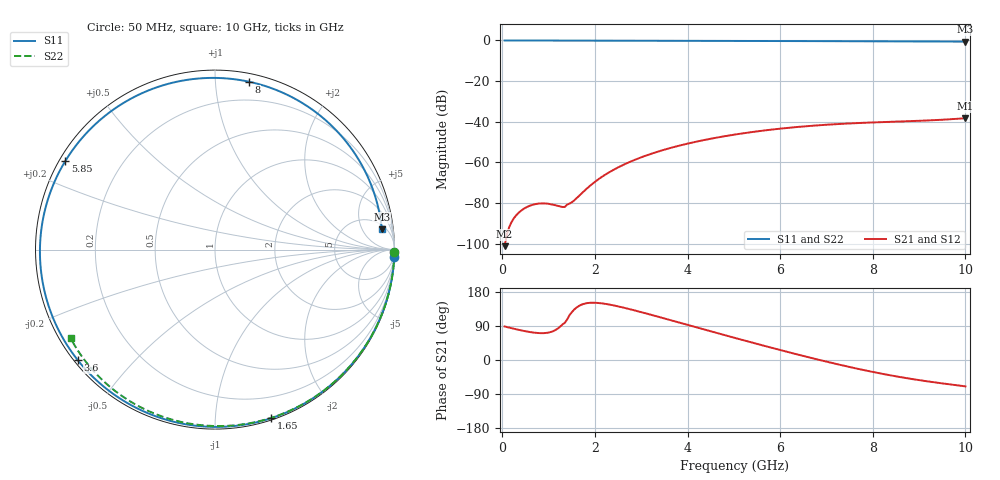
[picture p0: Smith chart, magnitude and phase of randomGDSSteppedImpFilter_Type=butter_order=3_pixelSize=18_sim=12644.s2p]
! freq	dB(S11)	phase(S11)	dB(S12)	phase(S12)
!  dB(S21)	phase(S21)	dB(S22)	phase(S22)
!S-par simulation data
#  GHz  S  DB  R 50
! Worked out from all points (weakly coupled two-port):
!   200 points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, 50 MHz to 10 GHz, reference 50 ohm
!   highest |S21| = -38.23 dB at 10 GHz (marker M1); lowest = -101.2 dB at 50 MHz (marker M2)
!   lowest |S11| = -0.6 dB at 10 GHz (marker M3), VSWR 30.46, Z = 343 + j635 ohm
!   |S11| at or under -10 dB: nowhere
!   |S22| runs from -0.5 to 0.0 dB; largest |S21 - S12| = 0
!   S11 on the Smith chart (normalised r, x): 50 MHz: 0, -50; 1.65 GHz: 0.01, -1.39; 3.6 GHz: 0.01, -0.35; 5.85 GHz: 0.02, +0.27; 8 GHz: 0.06, +1.22; 10 GHz: 7, +13
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0.05  -0.00 -2.3  -101.16 88.5  -101.16 88.5  -0.00 -0.9
0.35  -0.02 -15.9  -84.79 79.7  -84.79 79.7  -0.01 -6.0
0.7  -0.04 -31.5  -80.55 72.0  -80.55 72.0  -0.02 -12.0
1.1  -0.06 -48.8  -80.78 76.2  -80.78 76.2  -0.02 -18.8
1.45  -0.08 -63.5  -80.24 118.0  -80.24 118.0  -0.03 -24.7
1.65  -0.09 -71.6  -76.59 142.3  -76.59 142.3  -0.04 -28.0
1.75  -0.09 -75.5  -74.40 147.8  -74.40 147.8  -0.04 -29.7
2.1  -0.10 -89.1  -67.86 150.2  -67.86 150.2  -0.05 -35.5
2.45  -0.12 -102.0  -63.02 142.9  -63.02 142.9  -0.05 -41.2
2.9  -0.13 -117.9  -58.34 129.5  -58.34 129.5  -0.06 -48.5
3.4  -0.15 -134.6  -54.39 113.1  -54.39 113.1  -0.07 -56.4
3.6  -0.16 -141.1  -53.06 106.3  -53.06 106.3  -0.08 -59.5
4.35  -0.19 -164.6  -49.00 80.8  -49.00 80.8  -0.10 -71.0
5.05  -0.23 174.0  -46.17 57.4  -46.17 57.4  -0.13 -81.4
5.85  -0.27 149.5  -43.74 31.2  -43.74 31.2  -0.16 -92.9
6.7  -0.33 122.5  -41.93 4.6  -41.93 4.6  -0.20 -104.7
7.35  -0.37 101.0  -40.97 -14.4  -40.97 -14.4  -0.25 -113.5
8  -0.41 78.5  -40.31 -31.5  -40.31 -31.5  -0.30 -122.1
8.35  -0.43 66.1  -40.03 -39.8  -40.03 -39.8  -0.33 -126.8
8.8  -0.46 49.9  -39.69 -49.3  -39.69 -49.3  -0.37 -132.7
9.25  -0.49 33.7  -39.27 -57.6  -39.27 -57.6  -0.41 -138.6
10  -0.57 7.0  -38.23 -69.5  -38.23 -69.5  -0.50 -148.5
